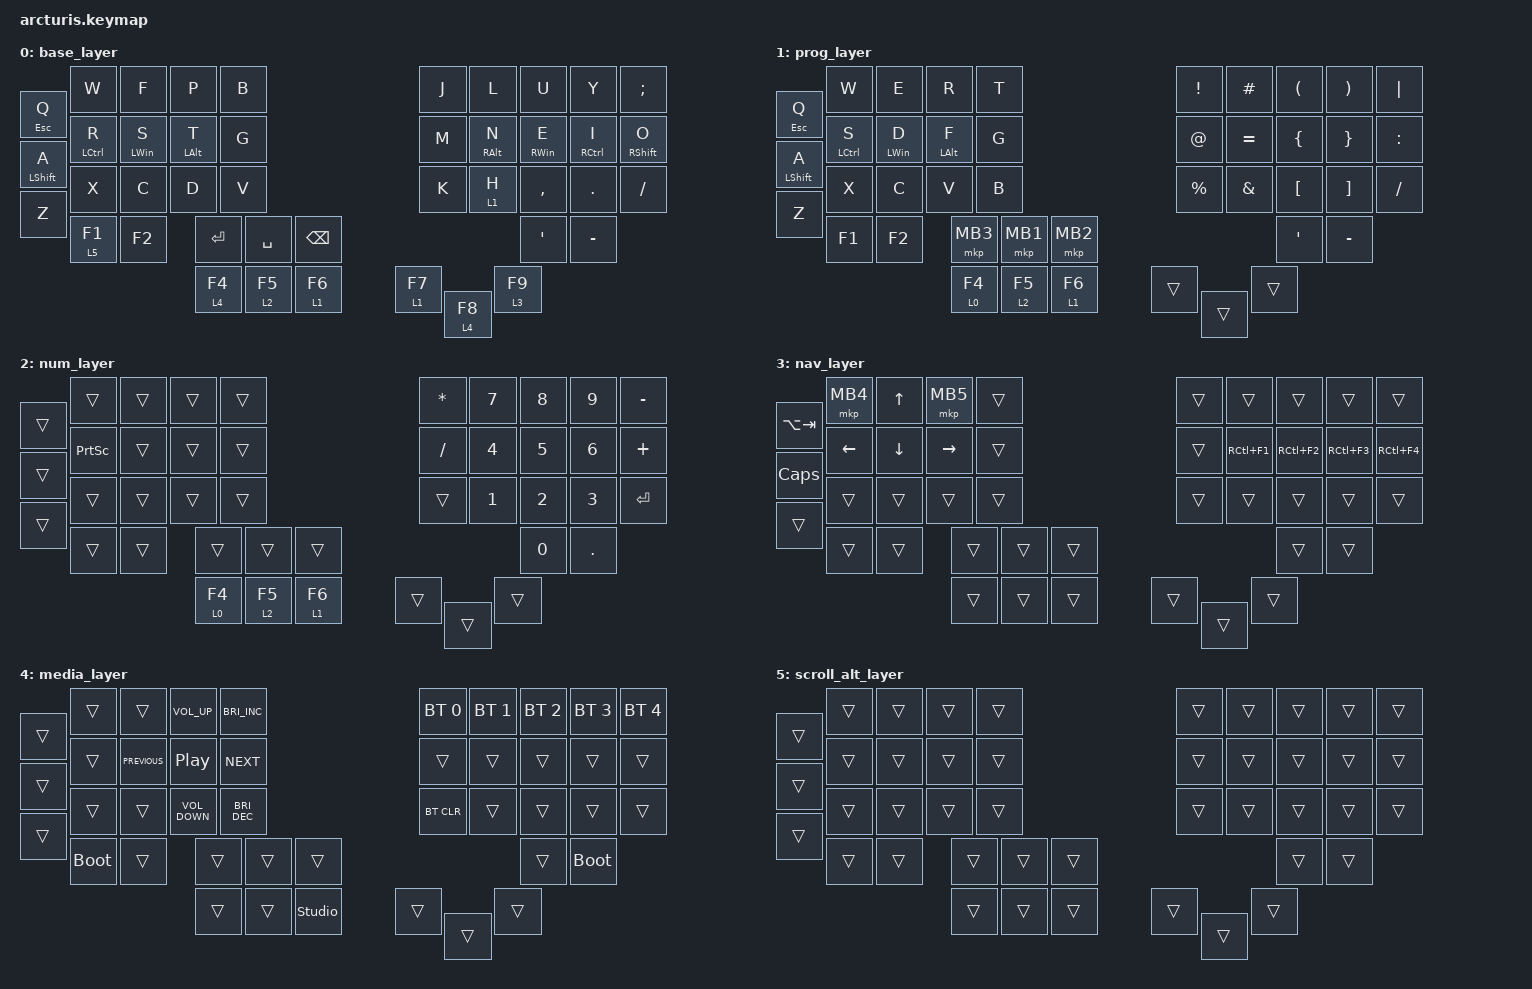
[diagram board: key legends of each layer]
#include <dt-bindings/zmk/mouse.h>
#include <input/processors.dtsi>
#include <dt-bindings/zmk/input_transform.h>
#include <zephyr/dt-bindings/input/input-event-codes.h>
#include <behaviors.dtsi>
#include <dt-bindings/zmk/bt.h>
#include <dt-bindings/zmk/keys.h>
#include <dt-bindings/zmk/pointing.h>

/ {
    behaviors {
        hm: homerow_mods {
            compatible = "zmk,behavior-hold-tap";
            #binding-cells = <2>;
            flavor = "tap-preferred";
            tapping-term-ms = <240>;
            quick-tap-ms = <150>;
            bindings = <&kp>, <&kp>;
        };

        lt: layer_tap {
            compatible = "zmk,behavior-hold-tap";
            #binding-cells = <2>;
            flavor = "balanced";
            tapping-term-ms = <240>;
            quick-tap-ms = <150>;
            bindings = <&mo>, <&kp>;
        };
    };

    input_processors {
        scroll_div: scroll_div {
            compatible = "zmk,input-processor-scaler";
            #input-processor-cells = <2>;
            type = <INPUT_EV_REL>;
            codes = <INPUT_REL_WHEEL>, <INPUT_REL_HWHEEL>;

            track-remainders;
        };
    };

    keymap {
        compatible = "zmk,keymap";

        base_layer {
            bindings = <
&hm ESCAPE Q      &kp W        &kp F           &kp P           &kp B            &kp J     &kp L            &kp U            &kp Y        &kp SEMI
&hm LEFT_SHIFT A  &hm LCTRL R  &hm LEFT_WIN S  &hm LEFT_ALT T  &kp G            &kp M     &hm RIGHT_ALT N  &hm RIGHT_WIN E  &hm RCTRL I  &hm RIGHT_SHIFT O
&kp Z             &kp X        &kp C           &kp D           &kp V            &kp K     &lt 1 H          &kp COMMA        &kp PERIOD   &kp SLASH
&lt 5 F1          &kp F2       &kp ENTER       &kp SPACE       &kp BACKSPACE    &lt 1 F7  &lt 4 F8         &lt 3 F9         &kp SQT      &kp MINUS
                               &lt 4 F4        &lt 2 F5        &lt 1 F6
            >;
        };

        prog_layer {
            bindings = <
&hm ESCAPE Q      &kp W        &kp E           &kp R           &kp T       &kp EXCLAMATION  &kp POUND      &kp LEFT_PARENTHESIS  &kp RIGHT_PARENTHESIS  &kp PIPE
&hm LEFT_SHIFT A  &hm LCTRL S  &hm LEFT_WIN D  &hm LEFT_ALT F  &kp G       &kp AT           &kp EQUAL      &kp LEFT_BRACE        &kp RIGHT_BRACE        &kp COLON
&kp Z             &kp X        &kp C           &kp V           &kp B       &kp PERCENT      &kp AMPERSAND  &kp LEFT_BRACKET      &kp RIGHT_BRACKET      &kp SLASH
&kp F1            &kp F2       &mkp MB3        &mkp MB1        &mkp MB2    &trans           &trans         &trans                &kp SQT                &kp MINUS
                               &lt 0 F4        &lt 2 F5        &lt 1 F6
            >;
        };

        num_layer {
            bindings = <
&trans  &trans           &trans    &trans    &trans      &kp ASTRK  &kp NUMBER_7  &kp NUMBER_8  &kp NUMBER_9  &kp MINUS
&trans  &kp PRINTSCREEN  &trans    &trans    &trans      &kp SLASH  &kp NUMBER_4  &kp NUMBER_5  &kp NUMBER_6  &kp PLUS
&trans  &trans           &trans    &trans    &trans      &trans     &kp NUMBER_1  &kp NUMBER_2  &kp NUMBER_3  &kp ENTER
&trans  &trans           &trans    &trans    &trans      &trans     &trans        &trans        &kp NUMBER_0  &kp PERIOD
                         &lt 0 F4  &lt 2 F5  &lt 1 F6
            >;
        };

        nav_layer {
            bindings = <
&kp LA(TAB)   &mkp MB4        &kp UP_ARROW    &mkp MB5         &trans    &trans  &trans      &trans      &trans      &trans
&kp CAPSLOCK  &kp LEFT_ARROW  &kp DOWN_ARROW  &kp RIGHT_ARROW  &trans    &trans  &kp RC(F1)  &kp RC(F2)  &kp RC(F3)  &kp RC(F4)
&trans        &trans          &trans          &trans           &trans    &trans  &trans      &trans      &trans      &trans
&trans        &trans          &trans          &trans           &trans    &trans  &trans      &trans      &trans      &trans
                              &trans          &trans           &trans
            >;
        };

        /* Holding F4 or F8 makes the trackball scroll - see the listener
         * override at the bottom of this file.
         * &bootloader is source-specific: the bottom-left key puts the LEFT
         * half into bootloader, the bottom-right key the RIGHT half. */

        media_layer {
            bindings = <
&trans       &trans  &trans          &kp C_VOLUME_UP    &kp C_BRIGHTNESS_INC    &bt BT_SEL 0  &bt BT_SEL 1  &bt BT_SEL 2  &bt BT_SEL 3  &bt BT_SEL 4
&trans       &trans  &kp C_PREVIOUS  &kp C_PP           &kp C_NEXT              &trans        &trans        &trans        &trans        &trans
&trans       &trans  &trans          &kp C_VOLUME_DOWN  &kp C_BRIGHTNESS_DEC    &bt BT_CLR    &trans        &trans        &trans        &trans
&bootloader  &trans  &trans          &trans             &trans                  &trans        &trans        &trans        &trans        &bootloader
                     &trans          &trans             &studio_unlock
            >;
        };

        /* Scrolling with the opposite vertical direction, held via F1. Scroll
         * direction is a coin flip until you try it, so both are wired up in
         * this one build: hold F4 for one direction, F1 for the other. Once
         * you know which you want, delete the one you don't and drop F1 back
         * to &kp F1. Every key here is transparent, so typing is unaffected. */

        scroll_alt_layer {
            bindings = <
&trans  &trans  &trans  &trans  &trans    &trans  &trans  &trans  &trans  &trans
&trans  &trans  &trans  &trans  &trans    &trans  &trans  &trans  &trans  &trans
&trans  &trans  &trans  &trans  &trans    &trans  &trans  &trans  &trans  &trans
&trans  &trans  &trans  &trans  &trans    &trans  &trans  &trans  &trans  &trans
                &trans  &trans  &trans
            >;
        };
    };
};

/* Turn the trackball into a scroll ball on layer 4 (hold F4 or F8), and on
 * layer 5 (hold F1) with the vertical direction flipped.
 *
 * Order matters: the mapper turns X/Y into horizontal/vertical wheel events,
 * then scroll_div divides them down. The ball is 800 CPI, about 315 counts per
 * cm, so a divisor of 48 gives roughly 6 scroll ticks per cm of ball travel.
 * Lower the divisor to scroll faster, raise it to scroll slower.
 *
 * The transform runs before the mapper because it acts on X/Y, not on wheel
 * codes. It only applies on this layer, so pointer direction is untouched. */

&trackball_listener {
    scroller {
        layers = <4>;
        input-processors = <&zip_xy_to_scroll_mapper>, <&scroll_div 1 48>;
    };

    scroller_inverted {
        layers = <5>;
        input-processors =
            <&zip_xy_transform INPUT_TRANSFORM_Y_INVERT>,
            <&zip_xy_to_scroll_mapper>,
            <&scroll_div 1 48>;
    };
};
